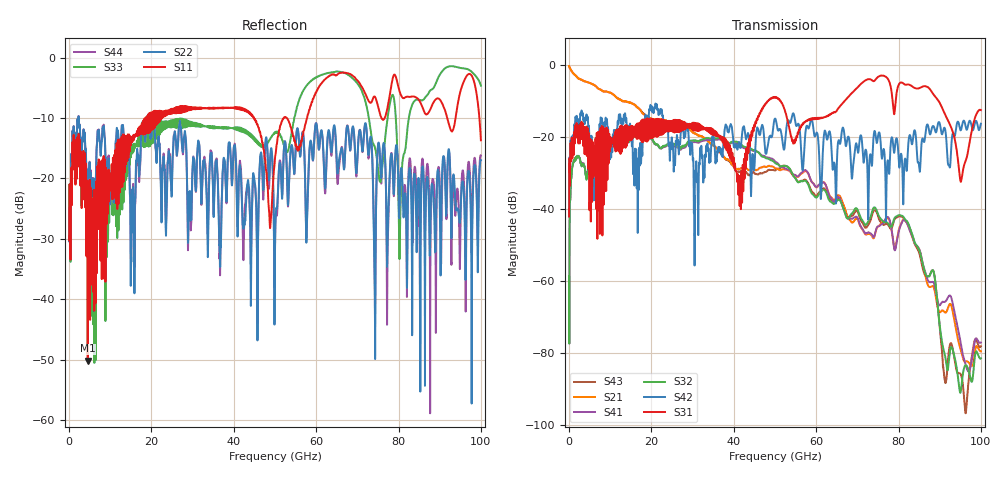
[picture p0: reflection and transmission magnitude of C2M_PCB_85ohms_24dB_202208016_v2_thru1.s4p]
! Info: Touchstone file created by Circ.  Input file=Intel_C2M_200G_9p5in_202208016_staggered.circ
# Hz S RI R 50
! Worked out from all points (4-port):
!   10000 points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, 10 MHz to 100 GHz, reference 50 ohm
!   strongest paths, dB at 10 MHz, 25.01 GHz, 50.01 GHz, 75.01 GHz, 100 GHz:
!     S31: -42.0, -18.3, -9.0, -3.3, -12.5
!     S42: -42.0, -21.4, -14.8, -19.8, -16.3
!     S32: -58.6, -21.8, -27.2, -41.3, -81.4
!     S41: -58.6, -22.1, -26.7, -44.7, -77.0
!     S21: -0.3, -16.4, -28.6, -44.8, -79.5
!     S43: -0.3, -16.3, -29.2, -41.9, -78.0
!   lowest |S11| = -50.2 dB at 4.53 GHz (marker M1), VSWR 1.01, Z = 50.2 - j0.266 ohm
!   |S11| at or under -10 dB: start of sweep to 18.55 GHz; 44.91 GHz to 52.12 GHz (7.202 GHz wide, 14.8 % of centre); 52.89 GHz to 57.79 GHz (4.903 GHz wide, 8.86 % of centre)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
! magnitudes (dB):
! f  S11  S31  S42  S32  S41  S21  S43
! 10 MHz  -30.2  -42.0  -42.0  -58.6  -58.6  -0.3  -0.3
! 4.53 GHz  -50.2  -17.6  -14.4  -29.9  -29.6  -4.7  -4.7
! 41.56 GHz  -8.5  -30.7  -22.8  -21.9  -22.3  -28.8  -29.6
! 48.99 GHz  -26.7  -9.4  -19.8  -26.4  -25.9  -28.1  -29.1
! 80.72 GHz  -6.4  -4.8  -24.9  -41.8  -43.9  -43.7  -42.1
! 95.17 GHz  -5.2  -32.3  -18.0  -90.2  -77.6  -79.2  -86.0
! 100 GHz  -13.7  -12.5  -16.3  -81.4  -77.0  -79.5  -78.0
